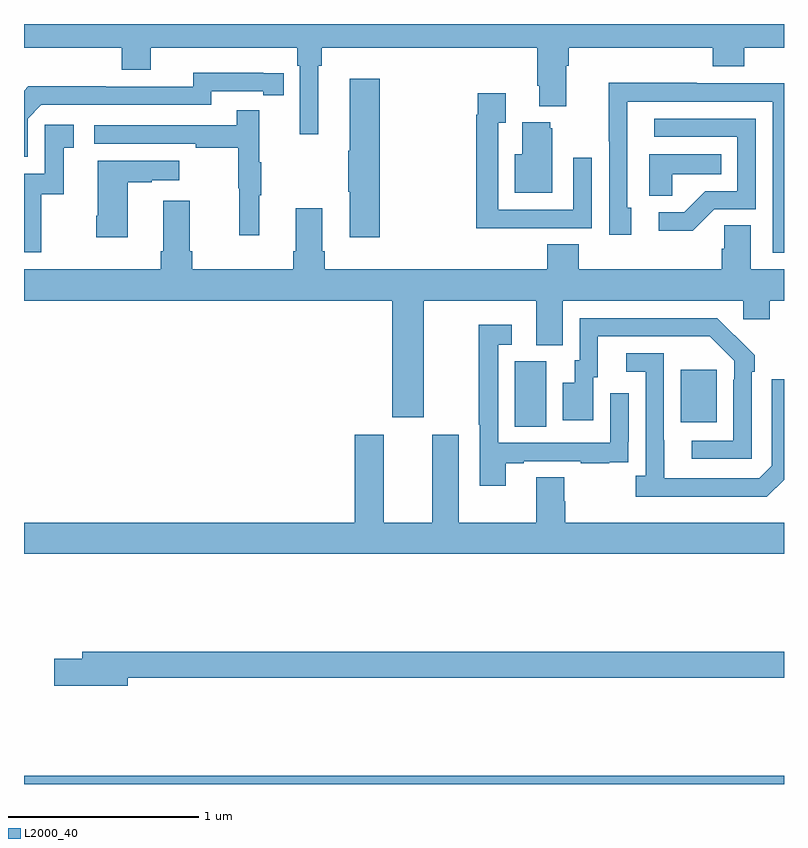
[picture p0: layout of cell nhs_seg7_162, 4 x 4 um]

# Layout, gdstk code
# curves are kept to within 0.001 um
import gdstk
lib = gdstk.Library(unit=1e-6, precision=1e-09)
def R(c, l, rs):  # rectangles x0, y0, x1, y1
    for r in rs: c.add(gdstk.rectangle(r[:2], r[2:], *l))
def P(c, l, *ps):  # polygons
    for p in ps: c.add(gdstk.Polygon(p, *l))
L2000_40 = (2000, 40)

nhs_seg7_162 = lib.new_cell('nhs_seg7_162')
R(nhs_seg7_162, L2000_40, [(121,1070,125,1070.044), (123.584,1071.88,123.748,1072.224), (124.457,1071.905,124.645,1072.18)])
P(nhs_seg7_162, L2000_40, [(122.548,1073.78),(122.567,1073.78),(122.567,1073.876),(123.701,1073.876),(123.701,1073.674),(123.713,1073.674),(123.713,1073.567),(123.853,1073.567),(123.853,1073.78),(123.866,1073.78),(123.866,1073.876),(124.625,1073.876),(124.625,1073.777),(124.79,1073.777),(124.79,1073.876),(125,1073.876),(125,1074),(121,1074),(121,1073.876),(121.514,1073.876),(121.514,1073.759),(121.666,1073.759),(121.666,1073.876),(122.438,1073.876),(122.438,1073.78),(122.451,1073.78),(122.451,1073.421),(122.548,1073.421)],
  [(121.02,1073.502),(121.092,1073.574),(121.986,1073.574),(121.986,1073.646),(122.258,1073.646),(122.258,1073.626),(122.366,1073.626),(122.366,1073.742),(121.89,1073.743),(121.89,1073.67),(121.43,1073.67),(121.43,1073.672),(121.022,1073.672),(121,1073.65),(121,1073.301),(121.02,1073.301)],
  [(122.873,1073.713),(122.714,1073.713),(122.714,1073.333),(122.707,1073.333),(122.707,1073.116),(122.714,1073.116),(122.714,1072.878),(122.873,1072.878)],
  [(125,1073.688),(124.541,1073.688),(124.541,1073.69),(124.078,1073.69),(124.078,1073.383),(124.08,1073.383),(124.08,1072.89),(124.195,1072.89),(124.195,1073.034),(124.176,1073.034),(124.176,1073.592),(124.941,1073.592),(124.941,1072.797),(125,1072.797)],
  [(123.671,1072.926),(123.987,1072.926),(123.987,1073.296),(123.891,1073.296),(123.891,1073.022),(123.495,1073.022),(123.495,1073.479),(123.535,1073.479),(123.535,1073.635),(123.387,1073.635),(123.387,1073.522),(123.379,1073.522),(123.379,1072.925),(123.671,1072.925)],
  [(122.237,1073.099),(122.248,1073.099),(122.248,1073.273),(122.237,1073.273),(122.237,1073.545),(122.119,1073.545),(122.119,1073.466),(121.371,1073.466),(121.371,1073.37),(121.903,1073.37),(121.903,1073.35),(122.127,1073.35),(122.127,1073.136),(122.134,1073.136),(122.134,1072.887),(122.237,1072.887)],
  [(124.632,1073.025),(124.851,1073.025),(124.851,1073.502),(124.317,1073.502),(124.317,1073.406),(124.755,1073.406),(124.755,1073.121),(124.586,1073.121),(124.475,1073.01),(124.341,1073.01),(124.341,1072.913),(124.519,1072.913)],
  [(123.781,1073.451),(123.77,1073.451),(123.77,1073.482),(123.623,1073.482),(123.623,1073.314),(123.584,1073.314),(123.584,1073.111),(123.781,1073.111)],
  [(121.09,1073.103),(121.208,1073.103),(121.208,1073.349),(121.261,1073.349),(121.261,1073.47),(121.11,1073.47),(121.11,1073.211),(121,1073.211),(121,1072.8),(121.09,1072.8)],
  [(124.413,1073.21),(124.67,1073.21),(124.67,1073.314),(124.292,1073.314),(124.292,1073.095),(124.413,1073.095)],
  [(121.546,1073.167),(121.673,1073.167),(121.673,1073.177),(121.816,1073.177),(121.816,1073.281),(121.388,1073.281),(121.388,1072.99),(121.381,1072.99),(121.381,1072.878),(121.546,1072.878)],
  [(123.103,1072.544),(123.695,1072.544),(123.695,1072.309),(123.835,1072.309),(123.835,1072.544),(124.785,1072.544),(124.785,1072.446),(124.924,1072.446),(124.924,1072.544),(125,1072.544),(125,1072.708),(124.825,1072.708),(124.825,1072.94),(124.686,1072.94),(124.686,1072.817),(124.673,1072.817),(124.673,1072.708),(123.92,1072.708),(123.92,1072.841),(123.755,1072.841),(123.755,1072.708),(122.582,1072.708),(122.582,1072.804),(122.569,1072.804),(122.569,1073.029),(122.429,1073.029),(122.429,1072.804),(122.417,1072.804),(122.417,1072.708),(121.886,1072.708),(121.886,1072.804),(121.873,1072.804),(121.873,1073.071),(121.733,1073.071),(121.733,1072.804),(121.721,1072.804),(121.721,1072.708),(121,1072.708),(121,1072.544),(122.939,1072.544),(122.939,1071.93),(123.103,1071.93)],
  [(124.83,1072.169),(124.845,1072.169),(124.845,1072.257),(124.648,1072.452),(123.924,1072.452),(123.924,1072.23),(123.899,1072.23),(123.899,1072.111),(123.836,1072.111),(123.836,1071.915),(123.997,1071.915),(123.997,1072.14),(124.021,1072.14),(124.021,1072.356),(124.609,1072.356),(124.737,1072.227),(124.737,1072.127),(124.734,1072.127),(124.734,1071.807),(124.515,1071.807),(124.515,1071.711),(124.83,1071.711)],
  [(123.535,1071.687),(123.631,1071.687),(123.631,1071.699),(123.931,1071.699),(123.931,1071.687),(124.079,1071.687),(124.079,1071.693),(124.181,1071.693),(124.181,1071.802),(124.182,1071.802),(124.182,1072.057),(124.086,1072.057),(124.086,1071.795),(123.495,1071.795),(123.495,1072.311),(123.568,1072.311),(123.568,1072.417),(123.394,1072.417),(123.394,1071.892),(123.399,1071.892),(123.399,1071.57),(123.535,1071.57)],
  [(125,1071.602),(125,1072.129),(124.935,1072.129),(124.935,1071.675),(124.869,1071.609),(124.369,1071.609),(124.368,1072.266),(124.17,1072.266),(124.17,1072.17),(124.272,1072.17),(124.272,1071.622),(124.221,1071.622),(124.221,1071.512),(124.91,1071.512)],
  [(125,1071.376),(123.848,1071.376),(123.848,1071.489),(123.843,1071.489),(123.843,1071.614),(123.695,1071.614),(123.695,1071.376),(123.289,1071.376),(123.289,1071.838),(123.149,1071.838),(123.149,1071.376),(122.893,1071.376),(122.893,1071.838),(122.741,1071.838),(122.741,1071.376),(121,1071.376),(121,1071.212),(125,1071.212)],
  [(121.546,1070.56),(125,1070.56),(125,1070.696),(121.307,1070.696),(121.307,1070.66),(121.158,1070.66),(121.158,1070.518),(121.546,1070.518)])

lib.write_gds('nhs_seg7_162.gds')
